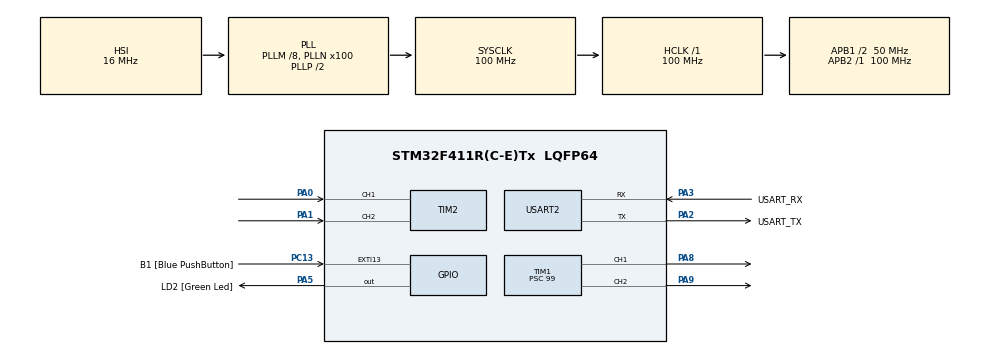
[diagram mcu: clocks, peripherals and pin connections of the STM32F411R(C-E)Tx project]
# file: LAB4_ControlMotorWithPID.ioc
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Mcu.Family=STM32F4
Mcu.Name=STM32F411R(C-E)Tx
Mcu.Package=LQFP64
NVIC.PriorityGroup=NVIC_PRIORITYGROUP_0
PA0-WKUP.Signal=S_TIM2_CH1_ETR
PA1.Signal=S_TIM2_CH2
PA13.GPIO_Label=TMS
PA13.Mode=Trace_Asynchronous_SW
PA13.Signal=SYS_JTMS-SWDIO
PA14.GPIO_Label=TCK
PA14.Mode=Trace_Asynchronous_SW
PA14.Signal=SYS_JTCK-SWCLK
PA2.GPIO_Label=USART_TX
PA2.Mode=Asynchronous
PA2.Signal=USART2_TX
PA3.GPIO_Label=USART_RX
PA3.Mode=Asynchronous
PA3.Signal=USART2_RX
PA5.GPIO_Label=LD2 [Green Led]
PA5.Signal=GPIO_Output
PA8.Signal=S_TIM1_CH1
PA9.Signal=S_TIM1_CH2
PB3.GPIO_Label=SWO
PB3.Mode=Trace_Asynchronous_SW
PB3.Signal=SYS_JTDO-SWO
PC13-ANTI_TAMP.GPIO_Label=B1 [Blue PushButton]
PC13-ANTI_TAMP.GPIO_ModeDefaultEXTI=GPIO_MODE_IT_FALLING
PC13-ANTI_TAMP.Signal=GPXTI13
PC14-OSC32_IN.Mode=LSE-External-Oscillator
PC14-OSC32_IN.Signal=RCC_OSC32_IN
PC15-OSC32_OUT.Mode=LSE-External-Oscillator
PC15-OSC32_OUT.Signal=RCC_OSC32_OUT
PH0\ -\ OSC_IN.Mode=HSE-External-Clock-Source
PH0\ -\ OSC_IN.Signal=RCC_OSC_IN
PH1\ -\ OSC_OUT.Mode=HSE-External-Clock-Source
PH1\ -\ OSC_OUT.Signal=RCC_OSC_OUT
ProjectManager.HeapSize=0x200
ProjectManager.StackSize=0x400
ProjectManager.TargetToolchain=STM32CubeIDE
RCC.48MHZClocksFreq_Value=50000000
RCC.AHBFreq_Value=100000000
RCC.APB1CLKDivider=RCC_HCLK_DIV2
RCC.APB1Freq_Value=50000000
RCC.APB1TimFreq_Value=100000000
RCC.APB2Freq_Value=100000000
RCC.APB2TimFreq_Value=100000000
RCC.CortexFreq_Value=100000000
RCC.FLatency-AdvancedSettings=FLASH_LATENCY_3
RCC.HCLKFreq_Value=100000000
RCC.HSE_VALUE=8000000
RCC.HSI_VALUE=16000000
RCC.PLLM=8
RCC.PLLN=100
RCC.SYSCLKFreq_VALUE=100000000
RCC.SYSCLKSource=RCC_SYSCLKSOURCE_PLLCLK
RCC.VCOOutputFreq_Value=200000000
SH.S_TIM1_CH1.0=TIM1_CH1,PWM Generation1 CH1
SH.S_TIM1_CH2.0=TIM1_CH2,PWM Generation2 CH2
SH.S_TIM2_CH1_ETR.0=TIM2_CH1,Encoder_Interface
SH.S_TIM2_CH2.0=TIM2_CH2,Encoder_Interface
TIM1.Channel-PWM\ Generation1\ CH1=TIM_CHANNEL_1
TIM1.Channel-PWM\ Generation2\ CH2=TIM_CHANNEL_2
TIM1.Period=999
TIM1.Prescaler=99
TIM1.Pulse-PWM\ Generation1\ CH1=500
TIM2.EncoderMode=TIM_ENCODERMODE_TI12
USART2.VirtualMode=VM_ASYNC
VP_TIM1_VS_ClockSourceINT.Mode=Internal
board=NUCLEO-F411RE

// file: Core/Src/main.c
/* USER CODE BEGIN Header */
/**
  ******************************************************************************
  * @file           : main.c
  * @brief          : Main program body
  ******************************************************************************
  * @attention
  *
  * Copyright (c) 2023 STMicroelectronics.
  * All rights reserved.
  *
  * This software is licensed under terms that can be found in the LICENSE file
  * in the root directory of this software component.
  * If no LICENSE file comes with this software, it is provided AS-IS.
  *
  ******************************************************************************
  */
/* USER CODE END Header */
#include "main.h"

/* USER CODE BEGIN Includes */
#include "arm_math.h"
/* USER CODE END Includes */

TIM_HandleTypeDef htim1;
TIM_HandleTypeDef htim2;

UART_HandleTypeDef huart2;

/* USER CODE BEGIN PV */

uint32_t duty = 500;
int32_t QEIReadRaw; // Keep the value position at QEI read

uint32_t degrees = 360; // 1 Round = 360 degrees
float32_t encoderpulse = 3072; // 768 P/R * 4 = 3072 P/R
float32_t ratio;
int32_t motorangle;

arm_pid_instance_f32 PID = {0};
float position = 0;
float setposition = 0;
float Vfeedback = 0;

/* USER CODE END PV */

void SystemClock_Config(void);
static void MX_GPIO_Init(void);
static void MX_USART2_UART_Init(void);
static void MX_TIM1_Init(void);
static void MX_TIM2_Init(void);
/* USER CODE BEGIN PFP */
void ChangePositionInDegrees();
void ControlPID();
/* USER CODE END PFP */

int main(void)
{

  /* MCU Configuration--------------------------------------------------------*/

  /* Reset of all peripherals, Initializes the Flash interface and the Systick. */
  HAL_Init();

  /* Configure the system clock */
  SystemClock_Config();

  /* Initialize all configured peripherals */
  MX_GPIO_Init();
  MX_USART2_UART_Init();
  MX_TIM1_Init();
  MX_TIM2_Init();
  /* USER CODE BEGIN 2 */

  HAL_TIM_Base_Start(&htim1);
    HAL_TIM_PWM_Start(&htim1, TIM_CHANNEL_1);
    HAL_TIM_PWM_Start(&htim1, TIM_CHANNEL_2);

    HAL_TIM_Encoder_Start(&htim2,TIM_CHANNEL_1|TIM_CHANNEL_2);

    PID.Kp = 40;
    PID.Ki = 0;
    PID.Kd = 6;
    arm_pid_init_f32(&PID, 0); // PID updated in this function

  /* USER CODE END 2 */

  /* Infinite loop */
  while (1)
  {

    /* USER CODE BEGIN 3 */
	  ControlPID();
  }
  /* USER CODE END 3 */
}

void SystemClock_Config(void)
{
  RCC_OscInitTypeDef RCC_OscInitStruct = {0};
  RCC_ClkInitTypeDef RCC_ClkInitStruct = {0};

  /** Configure the main internal regulator output voltage
  */
  __HAL_RCC_PWR_CLK_ENABLE();
  __HAL_PWR_VOLTAGESCALING_CONFIG(PWR_REGULATOR_VOLTAGE_SCALE1);

  /** Initializes the RCC Oscillators according to the specified parameters
  * in the RCC_OscInitTypeDef structure.
  */
  RCC_OscInitStruct.OscillatorType = RCC_OSCILLATORTYPE_HSI;
  RCC_OscInitStruct.HSIState = RCC_HSI_ON;
  RCC_OscInitStruct.HSICalibrationValue = RCC_HSICALIBRATION_DEFAULT;
  RCC_OscInitStruct.PLL.PLLState = RCC_PLL_ON;
  RCC_OscInitStruct.PLL.PLLSource = RCC_PLLSOURCE_HSI;
  RCC_OscInitStruct.PLL.PLLM = 8;
  RCC_OscInitStruct.PLL.PLLN = 100;
  RCC_OscInitStruct.PLL.PLLP = RCC_PLLP_DIV2;
  RCC_OscInitStruct.PLL.PLLQ = 4;
  if (HAL_RCC_OscConfig(&RCC_OscInitStruct) != HAL_OK)
  {
    Error_Handler();
  }

  /** Initializes the CPU, AHB and APB buses clocks
  */
  RCC_ClkInitStruct.ClockType = RCC_CLOCKTYPE_HCLK|RCC_CLOCKTYPE_SYSCLK
                              |RCC_CLOCKTYPE_PCLK1|RCC_CLOCKTYPE_PCLK2;
  RCC_ClkInitStruct.SYSCLKSource = RCC_SYSCLKSOURCE_PLLCLK;
  RCC_ClkInitStruct.AHBCLKDivider = RCC_SYSCLK_DIV1;
  RCC_ClkInitStruct.APB1CLKDivider = RCC_HCLK_DIV2;
  RCC_ClkInitStruct.APB2CLKDivider = RCC_HCLK_DIV1;

  if (HAL_RCC_ClockConfig(&RCC_ClkInitStruct, FLASH_LATENCY_3) != HAL_OK)
  {
    Error_Handler();
  }
}

static void MX_TIM1_Init(void)
{

  TIM_ClockConfigTypeDef sClockSourceConfig = {0};
  TIM_MasterConfigTypeDef sMasterConfig = {0};
  TIM_OC_InitTypeDef sConfigOC = {0};
  TIM_BreakDeadTimeConfigTypeDef sBreakDeadTimeConfig = {0};

  htim1.Instance = TIM1;
  htim1.Init.Prescaler = 99;
  htim1.Init.CounterMode = TIM_COUNTERMODE_UP;
  htim1.Init.Period = 999;
  htim1.Init.ClockDivision = TIM_CLOCKDIVISION_DIV1;
  htim1.Init.RepetitionCounter = 0;
  htim1.Init.AutoReloadPreload = TIM_AUTORELOAD_PRELOAD_DISABLE;
  if (HAL_TIM_Base_Init(&htim1) != HAL_OK)
  {
    Error_Handler();
  }
  sClockSourceConfig.ClockSource = TIM_CLOCKSOURCE_INTERNAL;
  if (HAL_TIM_ConfigClockSource(&htim1, &sClockSourceConfig) != HAL_OK)
  {
    Error_Handler();
  }
  if (HAL_TIM_PWM_Init(&htim1) != HAL_OK)
  {
    Error_Handler();
  }
  sMasterConfig.MasterOutputTrigger = TIM_TRGO_RESET;
  sMasterConfig.MasterSlaveMode = TIM_MASTERSLAVEMODE_DISABLE;
  if (HAL_TIMEx_MasterConfigSynchronization(&htim1, &sMasterConfig) != HAL_OK)
  {
    Error_Handler();
  }
  sConfigOC.OCMode = TIM_OCMODE_PWM1;
  sConfigOC.Pulse = 500;
  sConfigOC.OCPolarity = TIM_OCPOLARITY_HIGH;
  sConfigOC.OCNPolarity = TIM_OCNPOLARITY_HIGH;
  sConfigOC.OCFastMode = TIM_OCFAST_DISABLE;
  sConfigOC.OCIdleState = TIM_OCIDLESTATE_RESET;
  sConfigOC.OCNIdleState = TIM_OCNIDLESTATE_RESET;
  if (HAL_TIM_PWM_ConfigChannel(&htim1, &sConfigOC, TIM_CHANNEL_1) != HAL_OK)
  {
    Error_Handler();
  }
  sConfigOC.Pulse = 0;
  if (HAL_TIM_PWM_ConfigChannel(&htim1, &sConfigOC, TIM_CHANNEL_2) != HAL_OK)
  {
    Error_Handler();
  }
  sBreakDeadTimeConfig.OffStateRunMode = TIM_OSSR_DISABLE;
  sBreakDeadTimeConfig.OffStateIDLEMode = TIM_OSSI_DISABLE;
  sBreakDeadTimeConfig.LockLevel = TIM_LOCKLEVEL_OFF;
  sBreakDeadTimeConfig.DeadTime = 0;
  sBreakDeadTimeConfig.BreakState = TIM_BREAK_DISABLE;
  sBreakDeadTimeConfig.BreakPolarity = TIM_BREAKPOLARITY_HIGH;
  sBreakDeadTimeConfig.AutomaticOutput = TIM_AUTOMATICOUTPUT_DISABLE;
  if (HAL_TIMEx_ConfigBreakDeadTime(&htim1, &sBreakDeadTimeConfig) != HAL_OK)
  {
    Error_Handler();
  }
  HAL_TIM_MspPostInit(&htim1);

}

static void MX_TIM2_Init(void)
{

  TIM_Encoder_InitTypeDef sConfig = {0};
  TIM_MasterConfigTypeDef sMasterConfig = {0};

  htim2.Instance = TIM2;
  htim2.Init.Prescaler = 0;
  htim2.Init.CounterMode = TIM_COUNTERMODE_UP;
  htim2.Init.Period = 4294967295;
  htim2.Init.ClockDivision = TIM_CLOCKDIVISION_DIV1;
  htim2.Init.AutoReloadPreload = TIM_AUTORELOAD_PRELOAD_DISABLE;
  sConfig.EncoderMode = TIM_ENCODERMODE_TI12;
  sConfig.IC1Polarity = TIM_ICPOLARITY_RISING;
  sConfig.IC1Selection = TIM_ICSELECTION_DIRECTTI;
  sConfig.IC1Prescaler = TIM_ICPSC_DIV1;
  sConfig.IC1Filter = 0;
  sConfig.IC2Polarity = TIM_ICPOLARITY_RISING;
  sConfig.IC2Selection = TIM_ICSELECTION_DIRECTTI;
  sConfig.IC2Prescaler = TIM_ICPSC_DIV1;
  sConfig.IC2Filter = 0;
  if (HAL_TIM_Encoder_Init(&htim2, &sConfig) != HAL_OK)
  {
    Error_Handler();
  }
  sMasterConfig.MasterOutputTrigger = TIM_TRGO_RESET;
  sMasterConfig.MasterSlaveMode = TIM_MASTERSLAVEMODE_DISABLE;
  if (HAL_TIMEx_MasterConfigSynchronization(&htim2, &sMasterConfig) != HAL_OK)
  {
    Error_Handler();
  }

}

static void MX_USART2_UART_Init(void)
{

  huart2.Instance = USART2;
  huart2.Init.BaudRate = 115200;
  huart2.Init.WordLength = UART_WORDLENGTH_8B;
  huart2.Init.StopBits = UART_STOPBITS_1;
  huart2.Init.Parity = UART_PARITY_NONE;
  huart2.Init.Mode = UART_MODE_TX_RX;
  huart2.Init.HwFlowCtl = UART_HWCONTROL_NONE;
  huart2.Init.OverSampling = UART_OVERSAMPLING_16;
  if (HAL_UART_Init(&huart2) != HAL_OK)
  {
    Error_Handler();
  }

}

static void MX_GPIO_Init(void)
{
  GPIO_InitTypeDef GPIO_InitStruct = {0};

  /* GPIO Ports Clock Enable */
  __HAL_RCC_GPIOC_CLK_ENABLE();
  __HAL_RCC_GPIOH_CLK_ENABLE();
  __HAL_RCC_GPIOA_CLK_ENABLE();
  __HAL_RCC_GPIOB_CLK_ENABLE();

  /*Configure GPIO pin Output Level */
  HAL_GPIO_WritePin(LD2_GPIO_Port, LD2_Pin, GPIO_PIN_RESET);

  /*Configure GPIO pin : B1_Pin */
  GPIO_InitStruct.Pin = B1_Pin;
  GPIO_InitStruct.Mode = GPIO_MODE_IT_FALLING;
  GPIO_InitStruct.Pull = GPIO_NOPULL;
  HAL_GPIO_Init(B1_GPIO_Port, &GPIO_InitStruct);

  /*Configure GPIO pin : LD2_Pin */
  GPIO_InitStruct.Pin = LD2_Pin;
  GPIO_InitStruct.Mode = GPIO_MODE_OUTPUT_PP;
  GPIO_InitStruct.Pull = GPIO_NOPULL;
  GPIO_InitStruct.Speed = GPIO_SPEED_FREQ_LOW;
  HAL_GPIO_Init(LD2_GPIO_Port, &GPIO_InitStruct);

}

/* USER CODE BEGIN 4 */
void ChangePositionInDegrees()
{
	ratio = (degrees/encoderpulse);
	motorangle = (ratio*QEIReadRaw);
}
void ControlPID()
{
	 static uint32_t timestamp = 0;
		  if(timestamp < HAL_GetTick())
		  {
			  timestamp = HAL_GetTick()+10;

			  QEIReadRaw = __HAL_TIM_GET_COUNTER(&htim2); // Read value TIM2 is pulse
			  ChangePositionInDegrees();
			  Vfeedback = arm_pid_f32(&PID, setposition - motorangle);

			  if(Vfeedback >= 1000){
				  Vfeedback = 1000;
			  }
			  else if(Vfeedback <= -1000){
				  Vfeedback = -1000;
			  }
			  if(Vfeedback >= 0){
				  __HAL_TIM_SET_COMPARE(&htim1,TIM_CHANNEL_1,Vfeedback);
				  __HAL_TIM_SET_COMPARE(&htim1,TIM_CHANNEL_2,0);
			  }
			  else{
				  __HAL_TIM_SET_COMPARE(&htim1,TIM_CHANNEL_2,(Vfeedback*(-1)));
				  __HAL_TIM_SET_COMPARE(&htim1,TIM_CHANNEL_1,0);
			  }

		  }
}
/* USER CODE END 4 */

void Error_Handler(void)
{
  __disable_irq();
  while (1)
  {
  }
}
